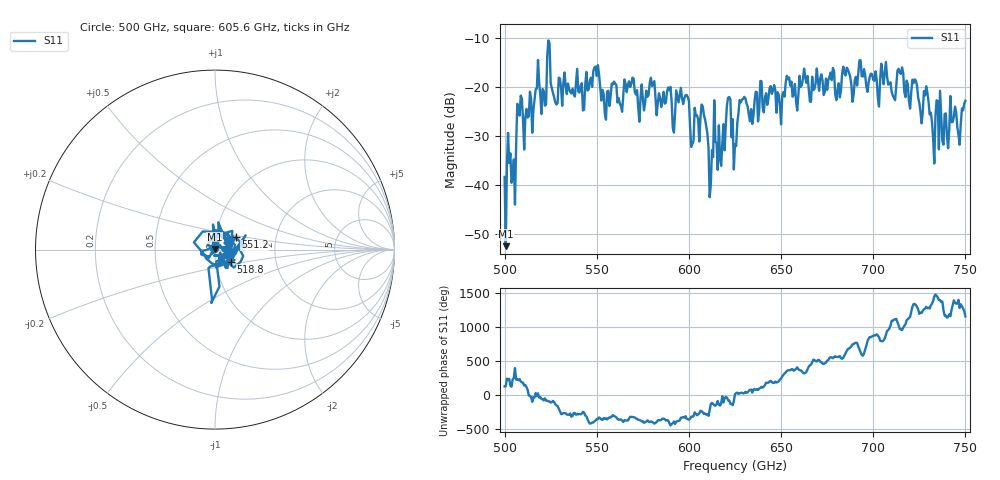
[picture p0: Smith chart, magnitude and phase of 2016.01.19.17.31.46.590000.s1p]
!Created with skrf (http://scikit-rf.org).
# GHz S RI R 50.0
!freq ReS11 ImS11
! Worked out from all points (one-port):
!   401 points, 500 GHz to 750 GHz, reference 50 ohm
!   lowest |S11| = -52.5 dB at 500.6 GHz (marker M1), VSWR 1.00, Z = 49.9 + j0.184 ohm
!   |S11| at or under -10 dB: start of sweep to end of sweep
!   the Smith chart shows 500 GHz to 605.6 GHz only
!   S11 on the Smith chart (normalised r, x): 500 GHz: 0.99, +0.02; 518.8 GHz: 1.18, -0.16; 551.2 GHz: 1.25, +0.17; 605.6 GHz: 1.00, +0.06
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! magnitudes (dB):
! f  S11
! 500 GHz  -38.4
! 500.6 GHz  -52.5
! 505 GHz  -34.8
! 508.1 GHz  -25.9
! 511.9 GHz  -24.5
! 518.8 GHz  -19.1
! 521.2 GHz  -20.9
! 524.4 GHz  -11.1
! 527.5 GHz  -23.2
! 531.2 GHz  -23.9
! 551.2 GHz  -17.5
! 562.5 GHz  -23.4
! 593.8 GHz  -21.9
! 605.6 GHz  -31.2
! 608.1 GHz  -25.7
! 611.9 GHz  -40.1
! 613.8 GHz  -22.7
! 618.1 GHz  -31.4
! 621.2 GHz  -22.2
! 625 GHz  -31.7
! 628.8 GHz  -22.7
! 656.2 GHz  -22.0
! 687.5 GHz  -17.9
! 714.4 GHz  -17.0
! 718.8 GHz  -19.5
! 728.8 GHz  -19.9
! 732.5 GHz  -30.5
! 750 GHz  -22.8
